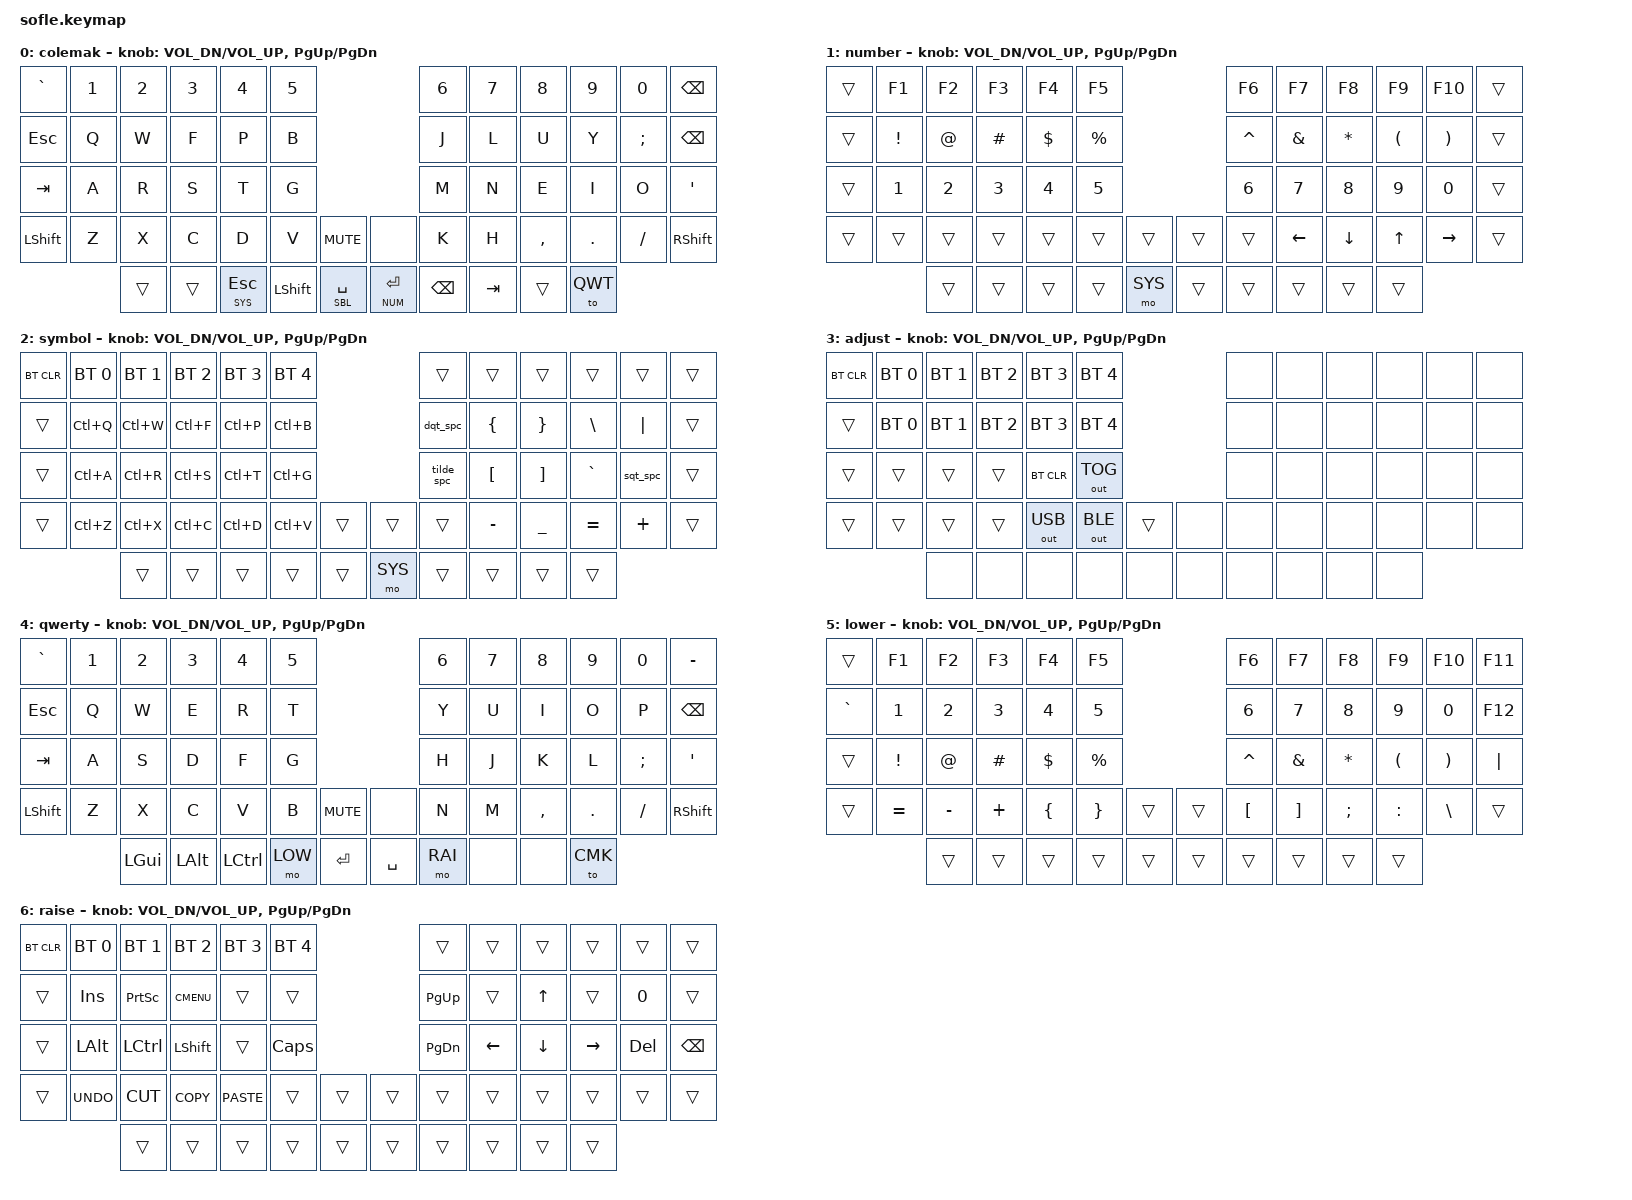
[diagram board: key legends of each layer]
/*
 * Copyright (c) 2020 The ZMK Contributors
 *
 * SPDX-License-Identifier: MIT
 */

#include <behaviors.dtsi>
#include <dt-bindings/zmk/keys.h>
#include <dt-bindings/zmk/bt.h>
#include <dt-bindings/zmk/outputs.h>

#define CMK 0
#define NUM 1
#define SBL 2
#define SYS 3
#define QWT 4
#define LOW 5
#define RAI 6

#define COMBO_TIME_OUT 25

/ {

    behaviors {
        tab_esc_ctrl: tab_esc_ctrl {
            compatible = "zmk,behavior-tap-dance";
            label = "TAB_ESC_CTRL";
            #binding-cells = <0>;
            bindings =
                <&mt LCTRL ESC>,
                <&kp TAB>;
        };
        gqt: global-quick-tap {
            compatible = "zmk,behavior-hold-tap";
            label = "GLOBAL_QUICK_TAP";
            bindings =
                <&kp>,
                <&kp>;

            #binding-cells = <2>;
            quick-tap-ms = <180>;
            tapping-term-ms = <200>;
            global-quick-tap;
        };
        ltq: ltq {
            compatible = "zmk,behavior-hold-tap";
            label = "LTQ";
            bindings =
                <&mo>,
                <&kp>;

            #binding-cells = <2>;
            global-quick-tap;
            tapping-term-ms = <200>;
            quick-tap-ms = <180>;
        };
    };

    combos {
        compatible = "zmk,combos";

        combo_left_ctrl {
            bindings = <&kp LCTRL>;
            key-positions = <27 28>;
            timeout-ms = <COMBO_TIME_OUT>;
        };

        combo_left_alt {
            bindings = <&kp LALT>;
            key-positions = <26 28>;
            timeout-ms = <COMBO_TIME_OUT>;
        };

        combo_left_gui {
            bindings = <&kp LGUI>;
            key-positions = <26 27>;
            timeout-ms = <COMBO_TIME_OUT>;
        };

        combo_right_ctrl {
            bindings = <&kp LCTRL>;
            key-positions = <31 32>;
            timeout-ms = <COMBO_TIME_OUT>;
        };

        combo_right_alt {
            bindings = <&kp LALT>;
            key-positions = <31 33>;
            timeout-ms = <COMBO_TIME_OUT>;
        };

        combo_right_gui {
            bindings = <&kp LGUI>;
            key-positions = <32 33>;
            timeout-ms = <COMBO_TIME_OUT>;
        };

        combo_left_quote {
            bindings = <&kp SQT>;
            key-positions = <15 16>;
            timeout-ms = <COMBO_TIME_OUT>;
        };

        combo_left_tilde {
            bindings = <&kp TILDE>;
            key-positions = <14 15>;
            timeout-ms = <COMBO_TIME_OUT>;
        };

        combo_left_circumflex {
            bindings = <&kp CARET>;
            key-positions = <14 16>;
            timeout-ms = <COMBO_TIME_OUT>;
        };

        combo_right_quote {
            bindings = <&kp SQT>;
            key-positions = <19 20>;
            timeout-ms = <COMBO_TIME_OUT>;
        };

        combo_right_tilde {
            bindings = <&kp TILDE>;
            key-positions = <20 21>;
            timeout-ms = <COMBO_TIME_OUT>;
        };

        combo_right_circumflex {
            bindings = <&kp CARET>;
            key-positions = <19 21>;
            timeout-ms = <COMBO_TIME_OUT>;
        };
    };

    macros {
        dqt_spc: dqt_spc {
            compatible = "zmk,behavior-macro";
            #binding-cells = <0>;
            bindings = <&macro_tap &kp DQT &kp SPACE>;
        };

        tilde_spc: tilde_spc {
            compatible = "zmk,behavior-macro";
            #binding-cells = <0>;
            bindings = <&macro_tap &kp TILDE &kp SPACE>;
        };

        sqt_spc: sqt_spc {
            compatible = "zmk,behavior-macro";
            #binding-cells = <0>;
            bindings = <&macro_tap &kp SQT &kp SPACE>;
        };
    };

    keymap {
        compatible = "zmk,keymap";

        colemak {
            display-name = "colemak";

            /* Colemak-DHm
            ┏━━━━━━━━━┳━━━━━━━━━┳━━━━━━━━━┳━━━━━━━━━┳━━━━━━━━━┳━━━━━━━━━┓                              ┏━━━━━━━━━┳━━━━━━━━━┳━━━━━━━━━┳━━━━━━━━━┳━━━━━━━━━┳━━━━━━━━━┓
            ┃    `    ┃    1    ┃    2    ┃    3    ┃    4    ┃    5    ┃                              ┃    6    ┃    7    ┃    8    ┃    9    ┃    0    ┃   BS    ┃
            ┣━━━━━━━━━╋━━━━━━━━━╋━━━━━━━━━╋━━━━━━━━━╋━━━━━━━━━╋━━━━━━━━━┫                              ┣━━━━━━━━━╋━━━━━━━━━╋━━━━━━━━━╋━━━━━━━━━╋━━━━━━━━━╋━━━━━━━━━┫
            ┃   Esc   ┃    Q    ┃    W    ┃    F    ┃    P    ┃    B    ┃                              ┃    J    ┃    L    ┃    U    ┃    Y    ┃    ;    ┃   BS    ┃
            ┣━━━━━━━━━╋━━━━━━━━━╋━━━━━━━━━╋━━━━━━━━━╋━━━━━━━━━╋━━━━━━━━━┫                              ┣━━━━━━━━━╋━━━━━━━━━╋━━━━━━━━━╋━━━━━━━━━╋━━━━━━━━━╋━━━━━━━━━┫
            ┃   Tab   ┃    A    ┃    R    ┃    S    ┃    T    ┃    G    ┃                              ┃    M    ┃    N    ┃    E    ┃    I    ┃    O    ┃    '    ┃
            ┣━━━━━━━━━╋━━━━━━━━━╋━━━━━━━━━╋━━━━━━━━━╋━━━━━━━━━╋━━━━━━━━━┫                              ┣━━━━━━━━━╋━━━━━━━━━╋━━━━━━━━━╋━━━━━━━━━╋━━━━━━━━━╋━━━━━━━━━┫
            ┃  Shift  ┃    Z    ┃    X    ┃    C    ┃    D    ┃    V    ┃                              ┃    K    ┃    H    ┃    ,    ┃    .    ┃    /    ┃  Shift  ┃
            ┗━━━━━━━━━┻━━━━━━━━━╋━━━━━━━━━╋━━━━━━━━━╋━━━━━━━━━╋━━━━━━━━━╋━━━━━━━━━┓          ┏━━━━━━━━━╋━━━━━━━━━╋━━━━━━━━━╋━━━━━━━━━╋━━━━━━━━━╋━━━━━━━━━┻━━━━━━━━━┛
                                ┃  ESC    ┃  ESC    ┃  Shift  ┃  Shift  ┃LT2/SPACE┃          ┃LT1/ENTER┃   BSCP  ┃   TAB   ┃   TAB   ┃   TAB   ┃
                                ┗━━━━━━━━━┻━━━━━━━━━┻━━━━━━━━━┻━━━━━━━━━┻━━━━━━━━━┛          ┗━━━━━━━━━┻━━━━━━━━━┻━━━━━━━━━┻━━━━━━━━━┻━━━━━━━━━┛
            */

            bindings = <
&kp GRAVE    &kp N1    &kp N2   &kp N3    &kp N4       &kp N5                                        &kp N6   &kp N7    &kp N8     &kp N9   &kp N0    &kp BSPC
&kp ESC      &kp Q     &kp W    &kp F     &kp P        &kp B                                         &kp J    &kp L     &kp U      &kp Y    &kp SEMI  &kp BSPC
&kp TAB      &kp A     &kp R    &kp S     &kp T        &kp G                                         &kp M    &kp N     &kp E      &kp I    &kp O     &kp SQT
&kp LSHFT    &kp Z     &kp X    &kp C     &kp D        &kp V      &kp C_MUTE         &none           &kp K    &kp H     &kp COMMA  &kp DOT  &kp FSLH  &kp RSHFT
                       &trans   &trans    &lt SYS ESC  &kp LSHIFT &lt SBL SPACE      &lt NUM ENTER   &kp BSPC  &kp TAB  &trans     &to QWT
            >;

            sensor-bindings = <&inc_dec_kp C_VOL_DN C_VOL_UP &inc_dec_kp PG_UP PG_DN>;
        };

        number {
            display-name = "number";

            /* Colemak-DHm
            ┏━━━━━━━━━┳━━━━━━━━━┳━━━━━━━━━┳━━━━━━━━━┳━━━━━━━━━┳━━━━━━━━━┓                              ┏━━━━━━━━━┳━━━━━━━━━┳━━━━━━━━━┳━━━━━━━━━┳━━━━━━━━━┳━━━━━━━━━┓
            ┃    `    ┃    1    ┃    2    ┃    3    ┃    4    ┃    5    ┃                              ┃    6    ┃    7    ┃    8    ┃    9    ┃    0    ┃   BS    ┃
            ┣━━━━━━━━━╋━━━━━━━━━╋━━━━━━━━━╋━━━━━━━━━╋━━━━━━━━━╋━━━━━━━━━┫                              ┣━━━━━━━━━╋━━━━━━━━━╋━━━━━━━━━╋━━━━━━━━━╋━━━━━━━━━╋━━━━━━━━━┫
            ┃   Esc   ┃    Q    ┃    W    ┃    F    ┃    P    ┃    B    ┃                              ┃    J    ┃    L    ┃    U    ┃    Y    ┃    ;    ┃   BS    ┃
            ┣━━━━━━━━━╋━━━━━━━━━╋━━━━━━━━━╋━━━━━━━━━╋━━━━━━━━━╋━━━━━━━━━┫                              ┣━━━━━━━━━╋━━━━━━━━━╋━━━━━━━━━╋━━━━━━━━━╋━━━━━━━━━╋━━━━━━━━━┫
            ┃   Tab   ┃    A    ┃    R    ┃    S    ┃    T    ┃    G    ┃                              ┃    M    ┃    N    ┃    E    ┃    I    ┃    O    ┃    '    ┃
            ┣━━━━━━━━━╋━━━━━━━━━╋━━━━━━━━━╋━━━━━━━━━╋━━━━━━━━━╋━━━━━━━━━┫                              ┣━━━━━━━━━╋━━━━━━━━━╋━━━━━━━━━╋━━━━━━━━━╋━━━━━━━━━╋━━━━━━━━━┫
            ┃  Shift  ┃    Z    ┃    X    ┃    C    ┃    D    ┃    V    ┃                              ┃    K    ┃    H    ┃    ,    ┃    .    ┃    /    ┃  Shift  ┃
            ┗━━━━━━━━━┻━━━━━━━━━╋━━━━━━━━━╋━━━━━━━━━╋━━━━━━━━━╋━━━━━━━━━╋━━━━━━━━━┓          ┏━━━━━━━━━╋━━━━━━━━━╋━━━━━━━━━╋━━━━━━━━━╋━━━━━━━━━╋━━━━━━━━━┻━━━━━━━━━┛
                                ┃  ESC    ┃  ESC    ┃  Shift  ┃  Shift  ┃LT2/SPACE┃          ┃LT1/ENTER┃   BSCP  ┃   TAB   ┃   TAB   ┃   TAB   ┃
                                ┗━━━━━━━━━┻━━━━━━━━━┻━━━━━━━━━┻━━━━━━━━━┻━━━━━━━━━┛          ┗━━━━━━━━━┻━━━━━━━━━┻━━━━━━━━━┻━━━━━━━━━┻━━━━━━━━━┛
            */

            bindings = <
&trans  &kp F1    &kp F2       &kp F3     &kp F4    &kp F5                      &kp F6     &kp F7     &kp F8    &kp F9    &kp F10   &trans
&trans  &kp EXCL  &kp AT_SIGN  &kp HASH   &kp DLLR  &kp PRCNT                   &kp CARET  &kp AMPS   &kp STAR  &kp LPAR  &kp RPAR  &trans
&trans  &kp N1    &kp N2       &kp N3     &kp N4    &kp N5                      &kp N6     &kp N7     &kp N8    &kp N9    &kp N0    &trans
&trans  &trans    &trans       &trans     &trans    &trans  &trans      &trans  &trans     &kp LEFT   &kp DOWN  &kp UP    &kp RIGHT &trans
                  &trans       &trans     &trans    &trans  &mo SYS     &trans  &trans     &trans     &trans    &trans
            >;

            sensor-bindings = <&inc_dec_kp C_VOL_DN C_VOL_UP &inc_dec_kp PG_UP PG_DN>;
        };

        symbol {
            display-name = "symbol";

            /* Colemak-DHm
            ┏━━━━━━━━━┳━━━━━━━━━┳━━━━━━━━━┳━━━━━━━━━┳━━━━━━━━━┳━━━━━━━━━┓                              ┏━━━━━━━━━┳━━━━━━━━━┳━━━━━━━━━┳━━━━━━━━━┳━━━━━━━━━┳━━━━━━━━━┓
            ┃    `    ┃    1    ┃    2    ┃    3    ┃    4    ┃    5    ┃                              ┃    6    ┃    7    ┃    8    ┃    9    ┃    0    ┃   BS    ┃
            ┣━━━━━━━━━╋━━━━━━━━━╋━━━━━━━━━╋━━━━━━━━━╋━━━━━━━━━╋━━━━━━━━━┫                              ┣━━━━━━━━━╋━━━━━━━━━╋━━━━━━━━━╋━━━━━━━━━╋━━━━━━━━━╋━━━━━━━━━┫
            ┃   Esc   ┃    Q    ┃    W    ┃    F    ┃    P    ┃    B    ┃                              ┃    J    ┃    L    ┃    U    ┃    Y    ┃    ;    ┃   BS    ┃
            ┣━━━━━━━━━╋━━━━━━━━━╋━━━━━━━━━╋━━━━━━━━━╋━━━━━━━━━╋━━━━━━━━━┫                              ┣━━━━━━━━━╋━━━━━━━━━╋━━━━━━━━━╋━━━━━━━━━╋━━━━━━━━━╋━━━━━━━━━┫
            ┃   Tab   ┃    A    ┃    R    ┃    S    ┃    T    ┃    G    ┃                              ┃    M    ┃    N    ┃    E    ┃    I    ┃    O    ┃    '    ┃
            ┣━━━━━━━━━╋━━━━━━━━━╋━━━━━━━━━╋━━━━━━━━━╋━━━━━━━━━╋━━━━━━━━━┫                              ┣━━━━━━━━━╋━━━━━━━━━╋━━━━━━━━━╋━━━━━━━━━╋━━━━━━━━━╋━━━━━━━━━┫
            ┃  Shift  ┃    Z    ┃    X    ┃    C    ┃    D    ┃    V    ┃                              ┃    K    ┃    H    ┃    ,    ┃    .    ┃    /    ┃  Shift  ┃
            ┗━━━━━━━━━┻━━━━━━━━━╋━━━━━━━━━╋━━━━━━━━━╋━━━━━━━━━╋━━━━━━━━━╋━━━━━━━━━┓          ┏━━━━━━━━━╋━━━━━━━━━╋━━━━━━━━━╋━━━━━━━━━╋━━━━━━━━━╋━━━━━━━━━┻━━━━━━━━━┛
                                ┃  ESC    ┃  ESC    ┃  Shift  ┃  Shift  ┃LT2/SPACE┃          ┃LT1/ENTER┃   BSCP  ┃   TAB   ┃   TAB   ┃   TAB   ┃
                                ┗━━━━━━━━━┻━━━━━━━━━┻━━━━━━━━━┻━━━━━━━━━┻━━━━━━━━━┛          ┗━━━━━━━━━┻━━━━━━━━━┻━━━━━━━━━┻━━━━━━━━━┻━━━━━━━━━┛
            */
            
            bindings = <
&bt BT_CLR &bt BT_SEL 0 &bt BT_SEL 1 &bt BT_SEL 2 &bt BT_SEL 3 &bt BT_SEL 4                         &trans     &trans     &trans      &trans     &trans    &trans
&trans     &kp LC(Q)    &kp LC(W)    &kp LC(F)    &kp LC(P)    &kp LC(B)                            &dqt_spc   &kp LBRC   &kp RBRC    &kp BSLH   &kp PIPE  &trans
&trans     &kp LC(A)    &kp LC(R)    &kp LC(S)    &kp LC(T)    &kp LC(G)                            &tilde_spc &kp LBKT   &kp RBKT    &kp GRAVE  &sqt_spc  &trans
&trans     &kp LC(Z)    &kp LC(X)    &kp LC(C)    &kp LC(D)    &kp LC(V)    &trans         &trans   &trans     &kp MINUS  &kp UNDER   &kp EQUAL  &kp PLUS  &trans
                        &trans       &trans       &trans       &trans       &trans         &mo SYS  &trans     &trans     &trans      &trans
            >;

            sensor-bindings = <&inc_dec_kp C_VOL_DN C_VOL_UP &inc_dec_kp PG_UP PG_DN>;
        };

        adjust {
            display-name = "adjust";

            /* Colemak-DHm
            ┏━━━━━━━━━┳━━━━━━━━━┳━━━━━━━━━┳━━━━━━━━━┳━━━━━━━━━┳━━━━━━━━━┓                              ┏━━━━━━━━━┳━━━━━━━━━┳━━━━━━━━━┳━━━━━━━━━┳━━━━━━━━━┳━━━━━━━━━┓
            ┃    `    ┃    1    ┃    2    ┃    3    ┃    4    ┃    5    ┃                              ┃    6    ┃    7    ┃    8    ┃    9    ┃    0    ┃   BS    ┃
            ┣━━━━━━━━━╋━━━━━━━━━╋━━━━━━━━━╋━━━━━━━━━╋━━━━━━━━━╋━━━━━━━━━┫                              ┣━━━━━━━━━╋━━━━━━━━━╋━━━━━━━━━╋━━━━━━━━━╋━━━━━━━━━╋━━━━━━━━━┫
            ┃   Esc   ┃    Q    ┃    W    ┃    F    ┃    P    ┃    B    ┃                              ┃    J    ┃    L    ┃    U    ┃    Y    ┃    ;    ┃   BS    ┃
            ┣━━━━━━━━━╋━━━━━━━━━╋━━━━━━━━━╋━━━━━━━━━╋━━━━━━━━━╋━━━━━━━━━┫                              ┣━━━━━━━━━╋━━━━━━━━━╋━━━━━━━━━╋━━━━━━━━━╋━━━━━━━━━╋━━━━━━━━━┫
            ┃   Tab   ┃    A    ┃    R    ┃    S    ┃    T    ┃    G    ┃                              ┃    M    ┃    N    ┃    E    ┃    I    ┃    O    ┃    '    ┃
            ┣━━━━━━━━━╋━━━━━━━━━╋━━━━━━━━━╋━━━━━━━━━╋━━━━━━━━━╋━━━━━━━━━┫                              ┣━━━━━━━━━╋━━━━━━━━━╋━━━━━━━━━╋━━━━━━━━━╋━━━━━━━━━╋━━━━━━━━━┫
            ┃  Shift  ┃    Z    ┃    X    ┃    C    ┃    D    ┃    V    ┃                              ┃    K    ┃    H    ┃    ,    ┃    .    ┃    /    ┃  Shift  ┃
            ┗━━━━━━━━━┻━━━━━━━━━╋━━━━━━━━━╋━━━━━━━━━╋━━━━━━━━━╋━━━━━━━━━╋━━━━━━━━━┓          ┏━━━━━━━━━╋━━━━━━━━━╋━━━━━━━━━╋━━━━━━━━━╋━━━━━━━━━╋━━━━━━━━━┻━━━━━━━━━┛
                                ┃  ESC    ┃  ESC    ┃  Shift  ┃  Shift  ┃LT2/SPACE┃          ┃LT1/ENTER┃   BSCP  ┃   TAB   ┃   TAB   ┃   TAB   ┃
                                ┗━━━━━━━━━┻━━━━━━━━━┻━━━━━━━━━┻━━━━━━━━━┻━━━━━━━━━┛          ┗━━━━━━━━━┻━━━━━━━━━┻━━━━━━━━━┻━━━━━━━━━┻━━━━━━━━━┛
            */

            bindings = <
&bt BT_CLR  &bt BT_SEL 0    &bt BT_SEL 1  &bt BT_SEL 2  &bt BT_SEL 3  &bt BT_SEL 4                                 &none &none &none &none &none &none
&trans      &bt BT_SEL 0    &bt BT_SEL 1  &bt BT_SEL 2  &bt BT_SEL 3  &bt BT_SEL 4                                 &none &none &none &none &none &none
&trans      &trans          &trans        &trans        &bt BT_CLR    &out OUT_TOG                                 &none &none &none &none &none &none
&trans      &trans          &trans        &trans        &out OUT_USB  &out OUT_BLE  &trans                  &none  &none &none &none &none &none &none
                            &none         &none         &none         &none         &none                   &none  &none &none &none &none
            >;

            sensor-bindings = <&inc_dec_kp C_VOL_DN C_VOL_UP &inc_dec_kp PG_UP PG_DN>;
        };

        qwerty {
            display-name = "qwerty";

            /* Colemak-DHm
            ┏━━━━━━━━━┳━━━━━━━━━┳━━━━━━━━━┳━━━━━━━━━┳━━━━━━━━━┳━━━━━━━━━┓                              ┏━━━━━━━━━┳━━━━━━━━━┳━━━━━━━━━┳━━━━━━━━━┳━━━━━━━━━┳━━━━━━━━━┓
            ┃    `    ┃    1    ┃    2    ┃    3    ┃    4    ┃    5    ┃                              ┃    6    ┃    7    ┃    8    ┃    9    ┃    0    ┃   BS    ┃
            ┣━━━━━━━━━╋━━━━━━━━━╋━━━━━━━━━╋━━━━━━━━━╋━━━━━━━━━╋━━━━━━━━━┫                              ┣━━━━━━━━━╋━━━━━━━━━╋━━━━━━━━━╋━━━━━━━━━╋━━━━━━━━━╋━━━━━━━━━┫
            ┃   Esc   ┃    Q    ┃    W    ┃    F    ┃    P    ┃    B    ┃                              ┃    J    ┃    L    ┃    U    ┃    Y    ┃    ;    ┃   BS    ┃
            ┣━━━━━━━━━╋━━━━━━━━━╋━━━━━━━━━╋━━━━━━━━━╋━━━━━━━━━╋━━━━━━━━━┫                              ┣━━━━━━━━━╋━━━━━━━━━╋━━━━━━━━━╋━━━━━━━━━╋━━━━━━━━━╋━━━━━━━━━┫
            ┃   Tab   ┃    A    ┃    R    ┃    S    ┃    T    ┃    G    ┃                              ┃    M    ┃    N    ┃    E    ┃    I    ┃    O    ┃    '    ┃
            ┣━━━━━━━━━╋━━━━━━━━━╋━━━━━━━━━╋━━━━━━━━━╋━━━━━━━━━╋━━━━━━━━━┫                              ┣━━━━━━━━━╋━━━━━━━━━╋━━━━━━━━━╋━━━━━━━━━╋━━━━━━━━━╋━━━━━━━━━┫
            ┃  Shift  ┃    Z    ┃    X    ┃    C    ┃    D    ┃    V    ┃                              ┃    K    ┃    H    ┃    ,    ┃    .    ┃    /    ┃  Shift  ┃
            ┗━━━━━━━━━┻━━━━━━━━━╋━━━━━━━━━╋━━━━━━━━━╋━━━━━━━━━╋━━━━━━━━━╋━━━━━━━━━┓          ┏━━━━━━━━━╋━━━━━━━━━╋━━━━━━━━━╋━━━━━━━━━╋━━━━━━━━━╋━━━━━━━━━┻━━━━━━━━━┛
                                ┃  ESC    ┃  ESC    ┃  Shift  ┃  Shift  ┃LT2/SPACE┃          ┃LT1/ENTER┃   BSCP  ┃   TAB   ┃   TAB   ┃   TAB   ┃
                                ┗━━━━━━━━━┻━━━━━━━━━┻━━━━━━━━━┻━━━━━━━━━┻━━━━━━━━━┛          ┗━━━━━━━━━┻━━━━━━━━━┻━━━━━━━━━┻━━━━━━━━━┻━━━━━━━━━┛
            */

            bindings = <
&kp GRAVE &kp N1 &kp N2   &kp N3   &kp N4    &kp N5                         &kp N6   &kp N7    &kp N8    &kp N9   &kp N0   &kp MINUS
&kp ESC   &kp Q  &kp W    &kp E    &kp R     &kp T                          &kp Y    &kp U     &kp I     &kp O    &kp P    &kp BSPC
&kp TAB   &kp A  &kp S    &kp D    &kp F     &kp G                          &kp H    &kp J     &kp K     &kp L    &kp SEMI &kp SQT
&kp LSHFT &kp Z  &kp X    &kp C    &kp V     &kp B    &kp C_MUTE &none      &kp N    &kp M     &kp COMMA &kp DOT  &kp FSLH &kp RSHFT
                 &kp LGUI &kp LALT &kp LCTRL &mo LOW  &kp RET    &kp SPACE  &mo RAI  &none     &none  &to CMK
            >;

            sensor-bindings = <&inc_dec_kp C_VOL_DN C_VOL_UP &inc_dec_kp PG_UP PG_DN>;
        };

        lower {
            display-name = "lower";

            /* Colemak-DHm
            ┏━━━━━━━━━┳━━━━━━━━━┳━━━━━━━━━┳━━━━━━━━━┳━━━━━━━━━┳━━━━━━━━━┓                              ┏━━━━━━━━━┳━━━━━━━━━┳━━━━━━━━━┳━━━━━━━━━┳━━━━━━━━━┳━━━━━━━━━┓
            ┃    `    ┃    1    ┃    2    ┃    3    ┃    4    ┃    5    ┃                              ┃    6    ┃    7    ┃    8    ┃    9    ┃    0    ┃   BS    ┃
            ┣━━━━━━━━━╋━━━━━━━━━╋━━━━━━━━━╋━━━━━━━━━╋━━━━━━━━━╋━━━━━━━━━┫                              ┣━━━━━━━━━╋━━━━━━━━━╋━━━━━━━━━╋━━━━━━━━━╋━━━━━━━━━╋━━━━━━━━━┫
            ┃   Esc   ┃    Q    ┃    W    ┃    F    ┃    P    ┃    B    ┃                              ┃    J    ┃    L    ┃    U    ┃    Y    ┃    ;    ┃   BS    ┃
            ┣━━━━━━━━━╋━━━━━━━━━╋━━━━━━━━━╋━━━━━━━━━╋━━━━━━━━━╋━━━━━━━━━┫                              ┣━━━━━━━━━╋━━━━━━━━━╋━━━━━━━━━╋━━━━━━━━━╋━━━━━━━━━╋━━━━━━━━━┫
            ┃   Tab   ┃    A    ┃    R    ┃    S    ┃    T    ┃    G    ┃                              ┃    M    ┃    N    ┃    E    ┃    I    ┃    O    ┃    '    ┃
            ┣━━━━━━━━━╋━━━━━━━━━╋━━━━━━━━━╋━━━━━━━━━╋━━━━━━━━━╋━━━━━━━━━┫                              ┣━━━━━━━━━╋━━━━━━━━━╋━━━━━━━━━╋━━━━━━━━━╋━━━━━━━━━╋━━━━━━━━━┫
            ┃  Shift  ┃    Z    ┃    X    ┃    C    ┃    D    ┃    V    ┃                              ┃    K    ┃    H    ┃    ,    ┃    .    ┃    /    ┃  Shift  ┃
            ┗━━━━━━━━━┻━━━━━━━━━╋━━━━━━━━━╋━━━━━━━━━╋━━━━━━━━━╋━━━━━━━━━╋━━━━━━━━━┓          ┏━━━━━━━━━╋━━━━━━━━━╋━━━━━━━━━╋━━━━━━━━━╋━━━━━━━━━╋━━━━━━━━━┻━━━━━━━━━┛
                                ┃  ESC    ┃  ESC    ┃  Shift  ┃  Shift  ┃LT2/SPACE┃          ┃LT1/ENTER┃   BSCP  ┃   TAB   ┃   TAB   ┃   TAB   ┃
                                ┗━━━━━━━━━┻━━━━━━━━━┻━━━━━━━━━┻━━━━━━━━━┻━━━━━━━━━┛          ┗━━━━━━━━━┻━━━━━━━━━┻━━━━━━━━━┻━━━━━━━━━┻━━━━━━━━━┛
            */

            bindings = <
&trans    &kp F1    &kp F2    &kp F3      &kp F4    &kp F5                    &kp F6    &kp F7   &kp F8    &kp F9    &kp F10   &kp F11
&kp GRAVE &kp N1    &kp N2    &kp N3      &kp N4    &kp N5                    &kp N6    &kp N7   &kp N8    &kp N9    &kp N0    &kp F12
&trans    &kp EXCL  &kp AT    &kp HASH    &kp DLLR  &kp PRCNT                 &kp CARET &kp AMPS &kp ASTRK &kp LPAR  &kp RPAR  &kp PIPE
&trans    &kp EQUAL &kp MINUS &kp PLUS &kp LBRC  &kp RBRC   &trans &trans  &kp LBKT  &kp RBKT &kp SEMI  &kp COLON &kp BSLH  &trans
                    &trans    &trans      &trans    &trans     &trans &trans  &trans    &trans   &trans    &trans
            >;

            sensor-bindings = <&inc_dec_kp C_VOL_DN C_VOL_UP &inc_dec_kp PG_UP PG_DN>;
        };

        raise {
            display-name = "raise";

            /* Colemak-DHm
            ┏━━━━━━━━━┳━━━━━━━━━┳━━━━━━━━━┳━━━━━━━━━┳━━━━━━━━━┳━━━━━━━━━┓                              ┏━━━━━━━━━┳━━━━━━━━━┳━━━━━━━━━┳━━━━━━━━━┳━━━━━━━━━┳━━━━━━━━━┓
            ┃    `    ┃    1    ┃    2    ┃    3    ┃    4    ┃    5    ┃                              ┃    6    ┃    7    ┃    8    ┃    9    ┃    0    ┃   BS    ┃
            ┣━━━━━━━━━╋━━━━━━━━━╋━━━━━━━━━╋━━━━━━━━━╋━━━━━━━━━╋━━━━━━━━━┫                              ┣━━━━━━━━━╋━━━━━━━━━╋━━━━━━━━━╋━━━━━━━━━╋━━━━━━━━━╋━━━━━━━━━┫
            ┃   Esc   ┃    Q    ┃    W    ┃    F    ┃    P    ┃    B    ┃                              ┃    J    ┃    L    ┃    U    ┃    Y    ┃    ;    ┃   BS    ┃
            ┣━━━━━━━━━╋━━━━━━━━━╋━━━━━━━━━╋━━━━━━━━━╋━━━━━━━━━╋━━━━━━━━━┫                              ┣━━━━━━━━━╋━━━━━━━━━╋━━━━━━━━━╋━━━━━━━━━╋━━━━━━━━━╋━━━━━━━━━┫
            ┃   Tab   ┃    A    ┃    R    ┃    S    ┃    T    ┃    G    ┃                              ┃    M    ┃    N    ┃    E    ┃    I    ┃    O    ┃    '    ┃
            ┣━━━━━━━━━╋━━━━━━━━━╋━━━━━━━━━╋━━━━━━━━━╋━━━━━━━━━╋━━━━━━━━━┫                              ┣━━━━━━━━━╋━━━━━━━━━╋━━━━━━━━━╋━━━━━━━━━╋━━━━━━━━━╋━━━━━━━━━┫
            ┃  Shift  ┃    Z    ┃    X    ┃    C    ┃    D    ┃    V    ┃                              ┃    K    ┃    H    ┃    ,    ┃    .    ┃    /    ┃  Shift  ┃
            ┗━━━━━━━━━┻━━━━━━━━━╋━━━━━━━━━╋━━━━━━━━━╋━━━━━━━━━╋━━━━━━━━━╋━━━━━━━━━┓          ┏━━━━━━━━━╋━━━━━━━━━╋━━━━━━━━━╋━━━━━━━━━╋━━━━━━━━━╋━━━━━━━━━┻━━━━━━━━━┛
                                ┃  ESC    ┃  ESC    ┃  Shift  ┃  Shift  ┃LT2/SPACE┃          ┃LT1/ENTER┃   BSCP  ┃   TAB   ┃   TAB   ┃   TAB   ┃
                                ┗━━━━━━━━━┻━━━━━━━━━┻━━━━━━━━━┻━━━━━━━━━┻━━━━━━━━━┛          ┗━━━━━━━━━┻━━━━━━━━━┻━━━━━━━━━┻━━━━━━━━━┻━━━━━━━━━┛
            */

            bindings = <
&bt BT_CLR &bt BT_SEL 0 &bt BT_SEL 1 &bt BT_SEL 2 &bt BT_SEL 3 &bt BT_SEL 4                  &trans    &trans    &trans   &trans    &trans  &trans
&trans     &kp INS      &kp PSCRN    &kp K_CMENU  &trans       &trans                        &kp PG_UP &trans    &kp UP   &trans    &kp N0  &trans
&trans     &kp LALT     &kp LCTRL    &kp LSHFT    &trans       &kp CLCK                      &kp PG_DN &kp LEFT  &kp DOWN &kp RIGHT &kp DEL &kp BSPC
&trans     &kp K_UNDO   &kp K_CUT    &kp K_COPY   &kp K_PASTE  &trans        &trans  &trans  &trans    &trans    &trans   &trans    &trans  &trans
                        &trans       &trans       &trans       &trans        &trans  &trans  &trans    &trans    &trans   &trans
            >;

            sensor-bindings = <&inc_dec_kp C_VOL_DN C_VOL_UP &inc_dec_kp PG_UP PG_DN>;
        };

    };
};
